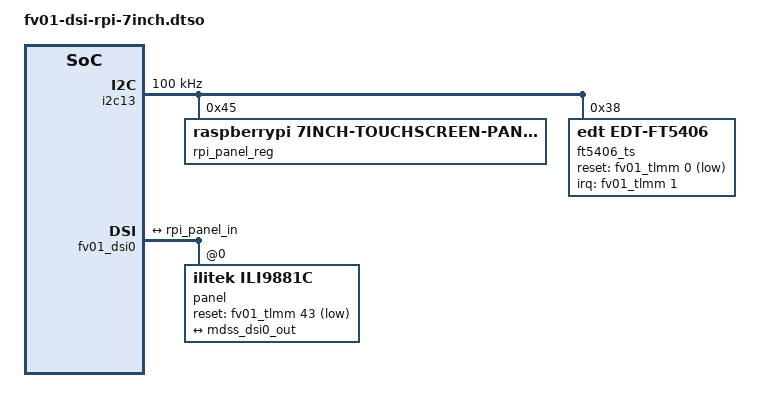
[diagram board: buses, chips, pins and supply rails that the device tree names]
/dts-v1/;
/plugin/;

/*
 * FV01 22-Pin RPi MIPI DSI Display + Touch Overlay (Port 1)
 * Mutually exclusive with onboard HDMI-OUT (lt9611@39) on mdss_dsi0:
 * - Disables lt9611@39 HDMI-OUT bridge.
 * - Enables i2c13 (QUP1_SE5 @ 0xa94000, GPIO 52/53) with RPi 7" MCU @ 0x45 and
 *   FocalTech FT5406 touch @ 0x38 (GPIO 0 reset, GPIO 1 IRQ).
 * - Attaches 2-lane DSI panel@0 (GPIO 43 reset) to mdss_dsi0 port@1.
 */

&lt9611 {
	status = "disabled";
};

&i2c13 {
	#address-cells = <1>;
	#size-cells = <0>;
	clock-frequency = <100000>;
	status = "okay";

	rpi_panel_reg: regulator@45 {
		compatible = "raspberrypi,7inch-touchscreen-panel-regulator";
		reg = <0x45>;
	};

	ft5406_ts: touchscreen@38 {
		compatible = "edt,edt-ft5406";
		reg = <0x38>;
		interrupts-extended = <&fv01_tlmm 1 2>;
		reset-gpios = <&fv01_tlmm 0 1>;
	};
};

&fv01_dsi0 {
	#address-cells = <1>;
	#size-cells = <0>;

	panel@0 {
		compatible = "ilitek,ili9881c";
		reg = <0>;
		reset-gpios = <&fv01_tlmm 43 1>;

		port {
			rpi_panel_in: endpoint {
				remote-endpoint = <&mdss_dsi0_out>;
			};
		};
	};

	ports {
		port@1 {
			endpoint {
				remote-endpoint = <&rpi_panel_in>;
				data-lanes = <0 1>;
			};
		};
	};
};
